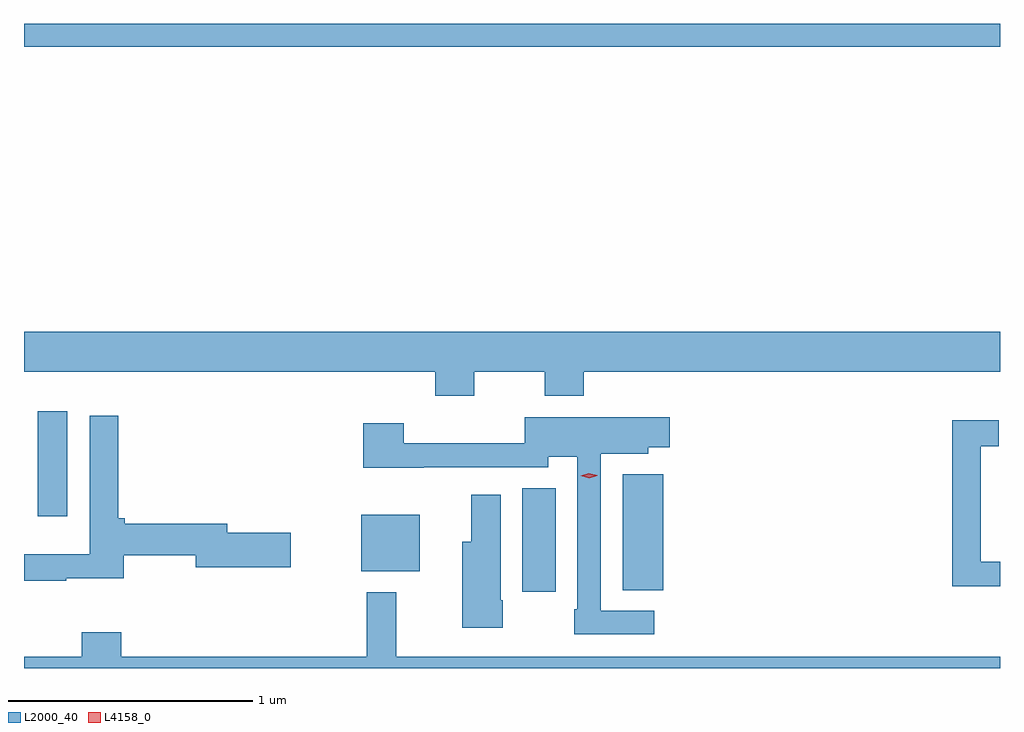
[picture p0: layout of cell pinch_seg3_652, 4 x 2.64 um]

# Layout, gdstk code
import gdstk
lib = gdstk.Library(unit=1e-6, precision=1e-09)
def R(c, l, rs):  # rectangles x0, y0, x1, y1
    for r in rs: c.add(gdstk.rectangle(r[:2], r[2:], *l))
def P(c, l, *ps):  # polygons
    for p in ps: c.add(gdstk.Polygon(p, *l))
L2000_40 = (2000, 40)
L4158_0 = (4158, 0)

pinch_seg3_652 = lib.new_cell('pinch_seg3_652')
R(pinch_seg3_652, L2000_40, [(1035.812,666.714,1035.949,667.139), (1036.223,666.721,1036.39,667.195), (1035.152,666.797,1035.391,667.03), (1033.826,667.023,1033.948,667.453), (1033.77,668.948,1037.77,669.042)])
P(pinch_seg3_652, L2000_40, [(1035.615,667.616),(1035.904,667.616),(1035.904,667.517),(1036.064,667.517),(1036.064,667.616),(1037.77,667.616),(1037.77,667.78),(1033.77,667.78),(1033.77,667.616),(1035.455,667.616),(1035.455,667.517),(1035.615,667.517)],
  [(1033.943,666.769),(1034.178,666.769),(1034.178,666.864),(1034.474,666.864),(1034.474,666.814),(1034.863,666.814),(1034.863,666.956),(1034.602,666.956),(1034.602,666.992),(1034.183,666.992),(1034.183,667.016),(1034.156,667.016),(1034.156,667.435),(1034.04,667.435),(1034.04,666.868),(1033.83,666.868),(1033.83,666.867),(1033.77,666.867),(1033.77,666.759),(1033.943,666.759)],
  [(1036.353,666.636),(1036.134,666.636),(1036.134,667.28),(1036.329,667.28),(1036.329,667.307),(1036.417,667.307),(1036.417,667.429),(1035.822,667.429),(1035.822,667.322),(1035.326,667.322),(1035.326,667.405),(1035.161,667.405),(1035.161,667.223),(1035.409,667.223),(1035.409,667.224),(1035.918,667.224),(1035.918,667.268),(1036.038,667.268),(1036.038,666.643),(1036.026,666.643),(1036.026,666.54),(1036.353,666.54)],
  [(1037.77,666.837),(1037.691,666.837),(1037.691,667.311),(1037.764,667.311),(1037.764,667.417),(1037.575,667.417),(1037.575,666.736),(1037.77,666.736)],
  [(1035.732,666.679),(1035.724,666.679),(1035.724,667.111),(1035.602,667.111),(1035.602,666.919),(1035.566,666.919),(1035.566,666.567),(1035.732,666.567)],
  [(1037.77,666.448),(1035.296,666.448),(1035.296,666.712),(1035.175,666.712),(1035.175,666.448),(1034.168,666.448),(1034.168,666.547),(1034.007,666.547),(1034.007,666.448),(1033.77,666.448),(1033.77,666.4),(1037.77,666.4)])
P(pinch_seg3_652, L4158_0, [(1036.086,667.18),(1036.051,667.189),(1036.051,667.189),(1036.051,667.189),(1036.085,667.2),(1036.12,667.191),(1036.12,667.19),(1036.12,667.19)])

lib.write_gds('pinch_seg3_652.gds')
